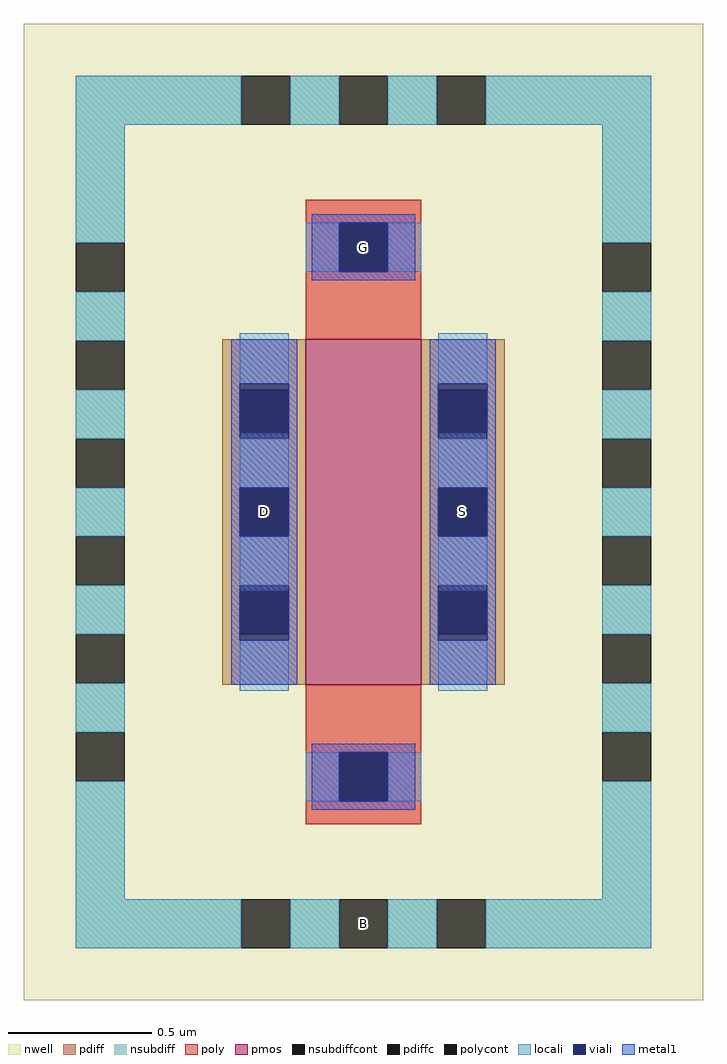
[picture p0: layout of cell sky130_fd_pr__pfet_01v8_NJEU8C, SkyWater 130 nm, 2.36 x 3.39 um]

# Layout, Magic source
magic
tech sky130A
magscale 1 2
<< nwell >>
rect -236 -339 236 339
<< pmos >>
rect -40 -120 40 120
<< pdiff >>
rect -98 85 -40 120
rect -98 51 -86 85
rect -52 51 -40 85
rect -98 17 -40 51
rect -98 -17 -86 17
rect -52 -17 -40 17
rect -98 -51 -40 -17
rect -98 -85 -86 -51
rect -52 -85 -40 -51
rect -98 -120 -40 -85
rect 40 85 98 120
rect 40 51 52 85
rect 86 51 98 85
rect 40 17 98 51
rect 40 -17 52 17
rect 86 -17 98 17
rect 40 -51 98 -17
rect 40 -85 52 -51
rect 86 -85 98 -51
rect 40 -120 98 -85
<< pdiffc >>
rect -86 51 -52 85
rect -86 -17 -52 17
rect -86 -85 -52 -51
rect 52 51 86 85
rect 52 -17 86 17
rect 52 -85 86 -51
<< nsubdiff >>
rect -200 269 -85 303
rect -51 269 -17 303
rect 17 269 51 303
rect 85 269 200 303
rect -200 187 -166 269
rect -200 119 -166 153
rect 166 187 200 269
rect -200 51 -166 85
rect -200 -17 -166 17
rect -200 -85 -166 -51
rect -200 -153 -166 -119
rect 166 119 200 153
rect 166 51 200 85
rect 166 -17 200 17
rect 166 -85 200 -51
rect -200 -269 -166 -187
rect 166 -153 200 -119
rect 166 -269 200 -187
rect -200 -303 -85 -269
rect -51 -303 -17 -269
rect 17 -303 51 -269
rect 85 -303 200 -269
<< nsubdiffcont >>
rect -85 269 -51 303
rect -17 269 17 303
rect 51 269 85 303
rect -200 153 -166 187
rect 166 153 200 187
rect -200 85 -166 119
rect -200 17 -166 51
rect -200 -51 -166 -17
rect -200 -119 -166 -85
rect 166 85 200 119
rect 166 17 200 51
rect 166 -51 200 -17
rect 166 -119 200 -85
rect -200 -187 -166 -153
rect 166 -187 200 -153
rect -85 -303 -51 -269
rect -17 -303 17 -269
rect 51 -303 85 -269
<< poly >>
rect -40 201 40 217
rect -40 167 -17 201
rect 17 167 40 201
rect -40 120 40 167
rect -40 -167 40 -120
rect -40 -201 -17 -167
rect 17 -201 40 -167
rect -40 -217 40 -201
<< polycont >>
rect -17 167 17 201
rect -17 -201 17 -167
<< locali >>
rect -200 269 -85 303
rect -51 269 -17 303
rect 17 269 51 303
rect 85 269 200 303
rect -200 187 -166 269
rect -40 167 -17 201
rect 17 167 40 201
rect 166 187 200 269
rect -200 119 -166 153
rect -200 51 -166 85
rect -200 -17 -166 17
rect -200 -85 -166 -51
rect -200 -153 -166 -119
rect -86 89 -52 124
rect -86 17 -52 51
rect -86 -51 -52 -17
rect -86 -124 -52 -89
rect 52 89 86 124
rect 52 17 86 51
rect 52 -51 86 -17
rect 52 -124 86 -89
rect 166 119 200 153
rect 166 51 200 85
rect 166 -17 200 17
rect 166 -85 200 -51
rect 166 -153 200 -119
rect -200 -269 -166 -187
rect -40 -201 -17 -167
rect 17 -201 40 -167
rect 166 -269 200 -187
rect -200 -303 -85 -269
rect -51 -303 -17 -269
rect 17 -303 51 -269
rect 85 -303 200 -269
<< viali >>
rect -17 167 17 201
rect -86 85 -52 89
rect -86 55 -52 85
rect -86 -17 -52 17
rect -86 -85 -52 -55
rect -86 -89 -52 -85
rect 52 85 86 89
rect 52 55 86 85
rect 52 -17 86 17
rect 52 -85 86 -55
rect 52 -89 86 -85
rect -17 -201 17 -167
<< metal1 >>
rect -36 201 36 207
rect -36 167 -17 201
rect 17 167 36 201
rect -36 161 36 167
rect -92 89 -46 120
rect -92 55 -86 89
rect -52 55 -46 89
rect -92 17 -46 55
rect -92 -17 -86 17
rect -52 -17 -46 17
rect -92 -55 -46 -17
rect -92 -89 -86 -55
rect -52 -89 -46 -55
rect -92 -120 -46 -89
rect 46 89 92 120
rect 46 55 52 89
rect 86 55 92 89
rect 46 17 92 55
rect 46 -17 52 17
rect 86 -17 92 17
rect 46 -55 92 -17
rect 46 -89 52 -55
rect 86 -89 92 -55
rect 46 -120 92 -89
rect -36 -167 36 -161
rect -36 -201 -17 -167
rect 17 -201 36 -167
rect -36 -207 36 -201
<< labels >>
rlabel locali s 0 -286 0 -286 4 B
rlabel locali s -69 0 -69 0 4 D
rlabel locali s 69 0 69 0 4 S
rlabel locali s 0 184 0 184 4 G
<< properties >>
string FIXED_BBOX -183 -286 183 286
<< end >>
